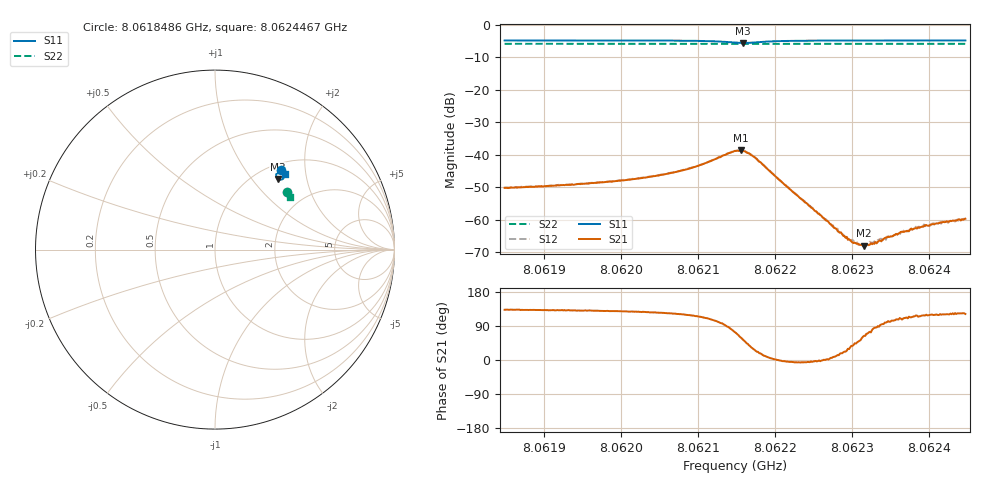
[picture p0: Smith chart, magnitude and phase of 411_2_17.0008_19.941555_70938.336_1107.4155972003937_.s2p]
#  HZ  S  RI  R  50.00
! Rohde & Schwarz Vector Network Analyzer
! Rohde-Schwarz,ZNB20-2Port,1311601062101988,3.16
! Created: UTC 3/20/2024, 11:10:27 PM
! freq[Hz]  re:S11  im:S11  re:S21  im:S21  re:S12  im:S12  re:S22  im:S22
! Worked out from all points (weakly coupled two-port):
!   401 points, 8.0618486 GHz to 8.0624467 GHz, reference 50 ohm
!   highest |S21| = -38.67 dB at 8.0621551 GHz (marker M1); lowest = -68.0 dB at 8.0623151 GHz (marker M2)
!   lowest |S11| = -5.6 dB at 8.0621581 GHz (marker M3), VSWR 3.22, Z = 62.4 + j68 ohm
!   |S11| at or under -10 dB: nowhere
!   |S22| runs from -5.9 to -5.8 dB; largest |S21 - S12| = 0.00076
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8.0618486e9  0.3674 0.4438  -0.00209 0.00228  -0.00199 0.00241  0.3989 0.3205
8.06194878e9  0.3744 0.4374  -0.00232 0.00273  -0.00217 0.00285  0.4025 0.3157
8.06200559e9  0.3788 0.4328  -0.00252 0.00319  -0.00234 0.0034  0.4049 0.3125
8.06204895e9  0.3828 0.4275  -0.00275 0.00394  -0.00254 0.00414  0.4062 0.3103
8.0620968e9  0.3869 0.4166  -0.00286 0.00592  -0.00252 0.00615  0.4081 0.3076
8.06214764e9  0.365 0.389  0.00334 0.011  0.00394 0.0108  0.4084 0.3042
8.06215511e9  0.3533 0.3914  0.00593 0.01  0.00653 0.0096  0.4082 0.3041
8.0621581e9  0.3489 0.3941  0.00679 0.00916  0.00737 0.00882  0.408 0.3042
8.06217305e9  0.3407 0.4155  0.00818 0.00414  0.00845 0.00369  0.4085 0.3044
8.06224781e9  0.3723 0.4344  0.0015 -0.00013  0.00152 -0.00021  0.4128 0.3015
8.06228968e9  0.3791 0.4315  0.000519 0.000211  0.000532 0.000152  0.4145 0.2991
8.06229715e9  0.3801 0.4311  0.000404 0.000269  0.000426 0.000215  0.4146 0.2987
8.06230612e9  0.381 0.4304  0.000292 0.000309  0.000318 0.000314  0.415 0.2981
8.06231509e9  0.3821 0.43  0.000174 0.000356  0.000198 0.000337  0.4154 0.2978
8.06231808e9  0.3823 0.4297  0.000143 0.000372  0.000141 0.000388  0.4154 0.2976
8.06232556e9  0.3832 0.4291  7.63e-05 0.000412  9.09e-05 0.000433  0.4158 0.2972
8.06232855e9  0.3835 0.4291  3.68e-05 0.000423  7.84e-05 0.000458  0.4159 0.2971
8.06234799e9  0.3852 0.4277  -9.99e-05 0.000534  -5.2e-05 0.000565  0.4168 0.296
8.06235845e9  0.3861 0.4271  -0.000176 0.000565  -0.00016 0.000567  0.4169 0.2955
8.06236593e9  0.3867 0.4265  -0.000217 0.000609  -0.000216 0.000623  0.4171 0.2951
8.06239284e9  0.3888 0.4249  -0.000369 0.0007  -0.000339 0.000772  0.4181 0.2935
8.06244667e9  0.3926 0.4219  -0.000541 0.000883  -0.000508 0.000887  0.42 0.291
